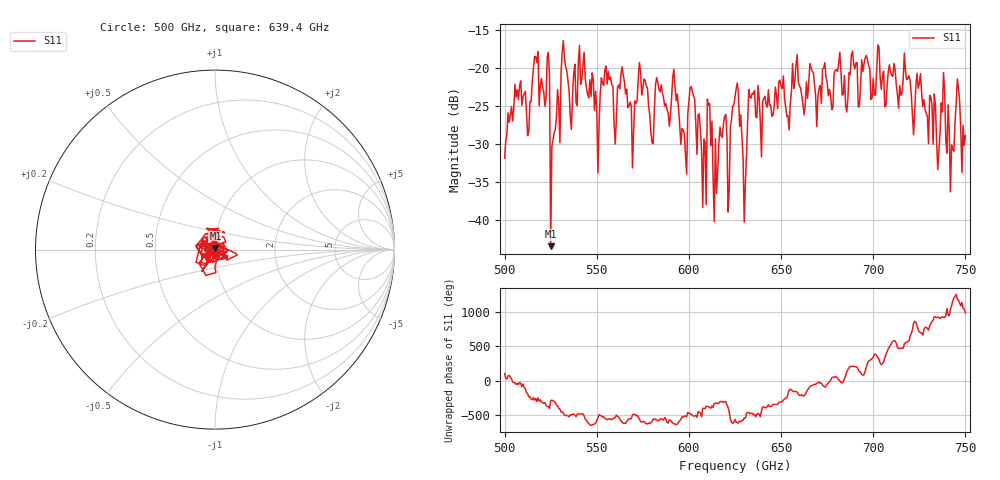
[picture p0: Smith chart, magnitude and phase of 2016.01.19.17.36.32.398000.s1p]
!Created with skrf (http://scikit-rf.org).
# GHz S RI R 50.0
!freq ReS11 ImS11
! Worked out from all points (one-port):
!   401 points, 500 GHz to 750 GHz, reference 50 ohm
!   lowest |S11| = -43.5 dB at 525 GHz (marker M1), VSWR 1.01, Z = 50.2 + j0.626 ohm
!   |S11| at or under -10 dB: start of sweep to end of sweep
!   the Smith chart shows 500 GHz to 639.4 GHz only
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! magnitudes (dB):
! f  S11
! 500 GHz  -31.9
! 506.9 GHz  -22.8
! 513.1 GHz  -28.4
! 516.9 GHz  -18.5
! 523.1 GHz  -18.5
! 525 GHz  -43.5
! 526.2 GHz  -29.5
! 531.2 GHz  -17.9
! 550 GHz  -25.3
! 562.5 GHz  -22.7
! 568.8 GHz  -25.0
! 573.8 GHz  -20.4
! 580 GHz  -29.8
! 583.1 GHz  -21.8
! 593.8 GHz  -23.4
! 597.5 GHz  -28.6
! 601.9 GHz  -23.0
! 608.1 GHz  -29.3
! 611.2 GHz  -24.7
! 614.4 GHz  -29.3
! 621.9 GHz  -35.8
! 625 GHz  -23.7
! 630 GHz  -40.3
! 633.8 GHz  -23.9
! 656.2 GHz  -19.4
! 687.5 GHz  -20.8
! 718.8 GHz  -21.3
! 750 GHz  -28.9
